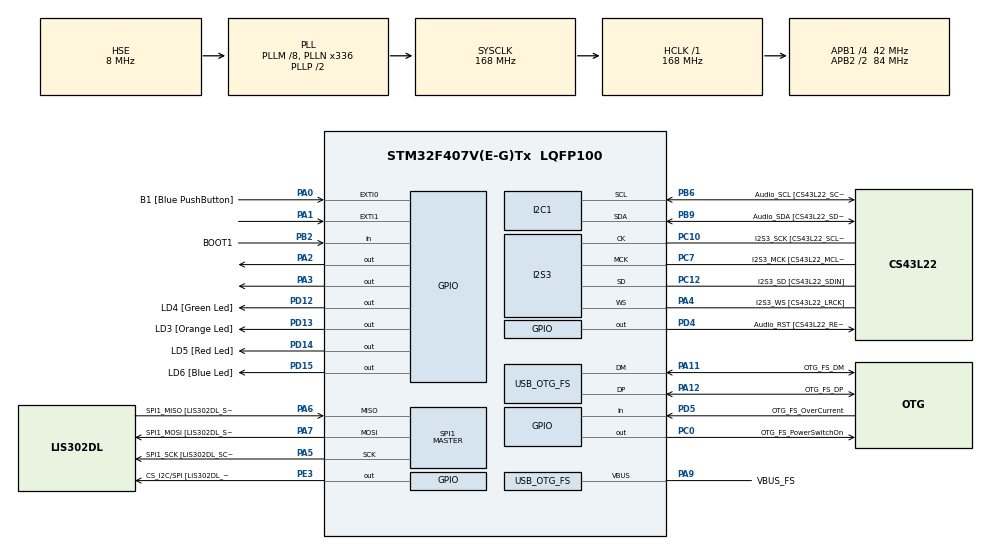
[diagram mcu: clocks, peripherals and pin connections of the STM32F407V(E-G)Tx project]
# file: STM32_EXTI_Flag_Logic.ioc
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I2S3.AudioFreq-Half_Duplex_Master=I2S_AUDIOFREQ_96K
I2S3.ErrorAudioFreq=-2.34 %
I2S3.ErrorAudioFreq-Half_Duplex_Master=0.8 %
I2S3.FullDuplexMode=I2S_FULLDUPLEXMODE_DISABLE
I2S3.Instance=SPI$Index
I2S3.RealAudioFreq=93.75 KHz
I2S3.RealAudioFreq-Half_Duplex_Master=96.774 KHz
I2S3.VirtualMode=I2S_MODE_MASTER
Mcu.Family=STM32F4
Mcu.Name=STM32F407V(E-G)Tx
Mcu.Package=LQFP100
NVIC.EXTI1_IRQn=true\:0\:0\:false\:false\:true\:true\:true\:true
NVIC.OTG_FS_IRQn=true\:0\:0\:false\:false\:true\:true\:true\:true
NVIC.PriorityGroup=NVIC_PRIORITYGROUP_0
PA0-WKUP.GPIO_Label=B1 [Blue PushButton]
PA0-WKUP.GPIO_ModeDefaultEXTI=GPIO_MODE_EVT_RISING
PA0-WKUP.GPIO_PuPd=GPIO_NOPULL
PA0-WKUP.Signal=GPXTI0
PA1.Signal=GPXTI1
PA10.GPIO_Label=OTG_FS_ID
PA10.GPIO_Mode=GPIO_MODE_AF_PP
PA10.GPIO_PuPd=GPIO_NOPULL
PA10.GPIO_Speed=GPIO_SPEED_FREQ_LOW
PA10.Signal=USB_OTG_FS_ID
PA11.GPIO_Label=OTG_FS_DM
PA11.GPIO_Mode=GPIO_MODE_AF_PP
PA11.GPIO_PuPd=GPIO_NOPULL
PA11.GPIO_Speed=GPIO_SPEED_FREQ_LOW
PA11.Mode=Host_Only
PA11.Signal=USB_OTG_FS_DM
PA12.GPIO_Label=OTG_FS_DP
PA12.GPIO_Mode=GPIO_MODE_AF_PP
PA12.GPIO_PuPd=GPIO_NOPULL
PA12.GPIO_Speed=GPIO_SPEED_FREQ_LOW
PA12.Mode=Host_Only
PA12.Signal=USB_OTG_FS_DP
PA13.GPIO_Label=SWDIO
PA13.Mode=Serial_Wire
PA13.Signal=SYS_JTMS-SWDIO
PA14.GPIO_Label=SWCLK
PA14.Mode=Serial_Wire
PA14.Signal=SYS_JTCK-SWCLK
PA2.Signal=GPIO_Output
PA3.Signal=GPIO_Output
PA4.GPIO_Label=I2S3_WS [CS43L22_LRCK]
PA4.GPIO_Mode=GPIO_MODE_AF_PP
PA4.GPIO_PuPd=GPIO_NOPULL
PA4.GPIO_Speed=GPIO_SPEED_FREQ_LOW
PA4.Mode=Half_Duplex_Master
PA4.Signal=I2S3_WS
PA5.GPIO_Label=SPI1_SCK [LIS302DL_SCL/SPC]
PA5.GPIO_Mode=GPIO_MODE_AF_PP
PA5.GPIO_PuPd=GPIO_NOPULL
PA5.GPIO_Speed=GPIO_SPEED_FREQ_LOW
PA5.Mode=Full_Duplex_Master
PA5.Signal=SPI1_SCK
PA6.GPIO_Label=SPI1_MISO [LIS302DL_SDO]
PA6.GPIO_Mode=GPIO_MODE_AF_PP
PA6.GPIO_PuPd=GPIO_NOPULL
PA6.GPIO_Speed=GPIO_SPEED_FREQ_LOW
PA6.Mode=Full_Duplex_Master
PA6.Signal=SPI1_MISO
PA7.GPIO_Label=SPI1_MOSI [LIS302DL_SDA/SDI/SDO]
PA7.GPIO_Mode=GPIO_MODE_AF_PP
PA7.GPIO_PuPd=GPIO_NOPULL
PA7.GPIO_Speed=GPIO_SPEED_FREQ_LOW
PA7.Mode=Full_Duplex_Master
PA7.Signal=SPI1_MOSI
PA9.GPIO_Label=VBUS_FS
PA9.GPIO_Mode=GPIO_MODE_INPUT
PA9.GPIO_PuPd=GPIO_NOPULL
PA9.Mode=Activate_VBUS
PA9.Signal=USB_OTG_FS_VBUS
PB10.GPIO_Label=CLK_IN [MP45DT02_CLK]
PB10.GPIO_Mode=GPIO_MODE_AF_PP
PB10.GPIO_PuPd=GPIO_NOPULL
PB10.GPIO_Speed=GPIO_SPEED_FREQ_LOW
PB10.Signal=I2S2_CK
PB2.GPIO_Label=BOOT1
PB2.GPIO_Mode=GPIO_MODE_INPUT
PB2.GPIO_PuPd=GPIO_NOPULL
PB2.Signal=GPIO_Input
PB3.GPIO_Label=SWO
PB3.Signal=SYS_JTDO-SWO
PB6.GPIO_Label=Audio_SCL [CS43L22_SCL]
PB6.GPIO_Mode=GPIO_MODE_AF_OD
PB6.GPIO_Pu=GPIO_PULLUP
PB6.GPIO_PuPd=GPIO_NOPULL
PB6.GPIO_Speed=GPIO_SPEED_FREQ_LOW
PB6.Mode=I2C
PB6.Signal=I2C1_SCL
PB9.GPIO_Label=Audio_SDA [CS43L22_SDA]
PB9.GPIO_Mode=GPIO_MODE_AF_OD
PB9.GPIO_Pu=GPIO_PULLUP
PB9.GPIO_PuPd=GPIO_NOPULL
PB9.GPIO_Speed=GPIO_SPEED_FREQ_LOW
PB9.Mode=I2C
PB9.Signal=I2C1_SDA
PC0.GPIO_Label=OTG_FS_PowerSwitchOn
PC0.GPIO_PuPd=GPIO_NOPULL
PC0.GPIO_Speed=GPIO_SPEED_FREQ_LOW
PC0.PinState=GPIO_PIN_SET
PC0.Signal=GPIO_Output
PC10.GPIO_Label=I2S3_SCK [CS43L22_SCLK]
PC10.GPIO_Mode=GPIO_MODE_AF_PP
PC10.GPIO_PuPd=GPIO_NOPULL
PC10.GPIO_Speed=GPIO_SPEED_FREQ_LOW
PC10.Mode=Half_Duplex_Master
PC10.Signal=I2S3_CK
PC12.GPIO_Label=I2S3_SD [CS43L22_SDIN]
PC12.GPIO_Mode=GPIO_MODE_AF_PP
PC12.GPIO_PuPd=GPIO_NOPULL
PC12.GPIO_Speed=GPIO_SPEED_FREQ_LOW
PC12.Mode=Half_Duplex_Master
PC12.Signal=I2S3_SD
PC14-OSC32_IN.GPIO_Label=PC14-OSC32_IN
PC14-OSC32_IN.Mode=LSE-External-Oscillator
PC14-OSC32_IN.Signal=RCC_OSC32_IN
PC15-OSC32_OUT.GPIO_Label=PC15-OSC32_OUT
PC15-OSC32_OUT.Mode=LSE-External-Oscillator
PC15-OSC32_OUT.Signal=RCC_OSC32_OUT
PC3.GPIO_Label=PDM_OUT [MP45DT02_DOUT]
PC3.GPIO_Mode=GPIO_MODE_AF_PP
PC3.GPIO_PuPd=GPIO_NOPULL
PC3.GPIO_Speed=GPIO_SPEED_FREQ_LOW
PC3.Signal=I2S2_SD
PC7.GPIO_Label=I2S3_MCK [CS43L22_MCLK]
PC7.GPIO_Mode=GPIO_MODE_AF_PP
PC7.GPIO_PuPd=GPIO_NOPULL
PC7.GPIO_Speed=GPIO_SPEED_FREQ_LOW
PC7.Mode=Master_Clock_Activated
PC7.Signal=I2S3_MCK
PD12.GPIO_Label=LD4 [Green Led]
PD12.GPIO_PuPd=GPIO_NOPULL
PD12.GPIO_Speed=GPIO_SPEED_FREQ_LOW
PD12.Signal=GPIO_Output
PD13.GPIO_Label=LD3 [Orange Led]
PD13.GPIO_PuPd=GPIO_NOPULL
PD13.GPIO_Speed=GPIO_SPEED_FREQ_LOW
PD13.Signal=GPIO_Output
PD14.GPIO_Label=LD5 [Red Led]
PD14.GPIO_PuPd=GPIO_NOPULL
PD14.GPIO_Speed=GPIO_SPEED_FREQ_LOW
PD14.Signal=GPIO_Output
PD15.GPIO_Label=LD6 [Blue Led]
PD15.GPIO_PuPd=GPIO_NOPULL
PD15.GPIO_Speed=GPIO_SPEED_FREQ_LOW
PD15.Signal=GPIO_Output
PD4.GPIO_Label=Audio_RST [CS43L22_RESET]
PD4.GPIO_PuPd=GPIO_NOPULL
PD4.GPIO_Speed=GPIO_SPEED_FREQ_LOW
PD4.Signal=GPIO_Output
PD5.GPIO_Label=OTG_FS_OverCurrent
PD5.GPIO_Mode=GPIO_MODE_INPUT
PD5.GPIO_PuPd=GPIO_NOPULL
PD5.Signal=GPIO_Input
PE3.GPIO_Label=CS_I2C/SPI [LIS302DL_CS_I2C/SPI]
PE3.GPIO_PuPd=GPIO_NOPULL
PE3.GPIO_Speed=GPIO_SPEED_FREQ_LOW
PE3.Signal=GPIO_Output
PH0-OSC_IN.GPIO_Label=PH0-OSC_IN
PH0-OSC_IN.Mode=HSE-External-Oscillator
PH0-OSC_IN.Signal=RCC_OSC_IN
PH1-OSC_OUT.GPIO_Label=PH1-OSC_OUT
PH1-OSC_OUT.Mode=HSE-External-Oscillator
PH1-OSC_OUT.Signal=RCC_OSC_OUT
ProjectManager.HeapSize=0x200
ProjectManager.StackSize=0x400
ProjectManager.TargetToolchain=STM32CubeIDE
RCC.48MHZClocksFreq_Value=48000000
RCC.AHBFreq_Value=168000000
RCC.APB1CLKDivider=RCC_HCLK_DIV4
RCC.APB1Freq_Value=42000000
RCC.APB1TimFreq_Value=84000000
RCC.APB2CLKDivider=RCC_HCLK_DIV2
RCC.APB2Freq_Value=84000000
RCC.APB2TimFreq_Value=168000000
RCC.CortexFreq_Value=168000000
RCC.HCLKFreq_Value=168000000
RCC.HSE_VALUE=8000000
RCC.HSI_VALUE=16000000
RCC.PLLM=8
RCC.PLLN=336
RCC.PLLQ=7
RCC.SYSCLKFreq_VALUE=168000000
RCC.SYSCLKSource=RCC_SYSCLKSOURCE_PLLCLK
RCC.VCOOutputFreq_Value=336000000
SPI1.BaudRatePrescaler-Full_Duplex_Master=SPI_BAUDRATEPRESCALER_2
SPI1.CalculateBaudRate-Full_Duplex_Master=42.0 MBits/s
SPI1.Direction=SPI_DIRECTION_2LINES
SPI1.Mode=SPI_MODE_MASTER
SPI1.Mode-Full_Duplex_Master=SPI_MODE_MASTER
SPI1.VirtualType=VM_MASTER
USB_HOST.BSP.number=1
USB_HOST.USBH_HandleTypeDef-CDC_FS=hUsbHostFS
USB_HOST.VirtualModeFS=Cdc
USB_HOST0.BSP.STBoard=false
USB_HOST0.BSP.api=Unknown
USB_HOST0.BSP.instance=PC0
USB_HOST0.BSP.ip=GPIO
USB_HOST0.BSP.mode=Output
USB_HOST0.BSP.name=Drive_VBUS_FS
USB_HOST0.BSP.solution=PC0
USB_OTG_FS.VirtualMode=Host_Only
USB_OTG_FS.phy_itface=HCD_PHY_EMBEDDED
VP_USB_HOST_VS_USB_HOST_CDC_FS.Mode=CDC_FS
board=STM32F407G-DISC1

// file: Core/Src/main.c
/* USER CODE BEGIN Header */
/**
  ******************************************************************************
  * @file           : main.c
  * @brief          : Main program body
  ******************************************************************************
  * @attention
  *
  * Copyright (c) 2026 STMicroelectronics.
  * All rights reserved.
  *
  * This software is licensed under terms that can be found in the LICENSE file
  * in the root directory of this software component.
  * If no LICENSE file comes with this software, it is provided AS-IS.
  *
  ******************************************************************************
  */
/* USER CODE END Header */
#include "main.h"
#include "usb_host.h"

I2C_HandleTypeDef hi2c1;

I2S_HandleTypeDef hi2s3;

SPI_HandleTypeDef hspi1;

/* USER CODE BEGIN PV */
 volatile uint8_t flag = 0;
 uint32_t green_led_on_time = 0;
 uint32_t red_led_on_time = 0;
 uint8_t red_led_active = 0;
/* USER CODE END PV */

void SystemClock_Config(void);
static void MX_GPIO_Init(void);
static void MX_I2C1_Init(void);
static void MX_I2S3_Init(void);
static void MX_SPI1_Init(void);
void MX_USB_HOST_Process(void);

int main(void)
{

  /* MCU Configuration--------------------------------------------------------*/

  /* Reset of all peripherals, Initializes the Flash interface and the Systick. */
  HAL_Init();

  /* Configure the system clock */
  SystemClock_Config();

  /* Initialize all configured peripherals */
  MX_GPIO_Init();
  MX_I2C1_Init();
  MX_I2S3_Init();
  MX_SPI1_Init();
  MX_USB_HOST_Init();

  /* Infinite loop */
  while (1)
  {
    MX_USB_HOST_Process();

    /* USER CODE BEGIN 3 */
    if(flag == 1){
    	HAL_GPIO_WritePin(GPIOA,GPIO_PIN_3,GPIO_PIN_SET);
    	red_led_on_time = HAL_GetTick();
    	red_led_active = 1;
    	flag = 0;
    }

    if(red_led_active == 1){
    	if((HAL_GetTick() - red_led_on_time) >= 2000){
    		HAL_GPIO_WritePin(GPIOA,GPIO_PIN_3,GPIO_PIN_RESET);
    		red_led_active = 0;
    	}
    }

    if((HAL_GetTick() - green_led_on_time) >= 500){
    	HAL_GPIO_TogglePin(GPIOA,GPIO_PIN_2);
    	green_led_on_time = HAL_GetTick();
    }
  }
  /* USER CODE END 3 */
}

void SystemClock_Config(void)
{
  RCC_OscInitTypeDef RCC_OscInitStruct = {0};
  RCC_ClkInitTypeDef RCC_ClkInitStruct = {0};

  /** Configure the main internal regulator output voltage
  */
  __HAL_RCC_PWR_CLK_ENABLE();
  __HAL_PWR_VOLTAGESCALING_CONFIG(PWR_REGULATOR_VOLTAGE_SCALE1);

  /** Initializes the RCC Oscillators according to the specified parameters
  * in the RCC_OscInitTypeDef structure.
  */
  RCC_OscInitStruct.OscillatorType = RCC_OSCILLATORTYPE_HSE;
  RCC_OscInitStruct.HSEState = RCC_HSE_ON;
  RCC_OscInitStruct.PLL.PLLState = RCC_PLL_ON;
  RCC_OscInitStruct.PLL.PLLSource = RCC_PLLSOURCE_HSE;
  RCC_OscInitStruct.PLL.PLLM = 8;
  RCC_OscInitStruct.PLL.PLLN = 336;
  RCC_OscInitStruct.PLL.PLLP = RCC_PLLP_DIV2;
  RCC_OscInitStruct.PLL.PLLQ = 7;
  if (HAL_RCC_OscConfig(&RCC_OscInitStruct) != HAL_OK)
  {
    Error_Handler();
  }

  /** Initializes the CPU, AHB and APB buses clocks
  */
  RCC_ClkInitStruct.ClockType = RCC_CLOCKTYPE_HCLK|RCC_CLOCKTYPE_SYSCLK
                              |RCC_CLOCKTYPE_PCLK1|RCC_CLOCKTYPE_PCLK2;
  RCC_ClkInitStruct.SYSCLKSource = RCC_SYSCLKSOURCE_PLLCLK;
  RCC_ClkInitStruct.AHBCLKDivider = RCC_SYSCLK_DIV1;
  RCC_ClkInitStruct.APB1CLKDivider = RCC_HCLK_DIV4;
  RCC_ClkInitStruct.APB2CLKDivider = RCC_HCLK_DIV2;

  if (HAL_RCC_ClockConfig(&RCC_ClkInitStruct, FLASH_LATENCY_5) != HAL_OK)
  {
    Error_Handler();
  }
}

static void MX_I2C1_Init(void)
{

  hi2c1.Instance = I2C1;
  hi2c1.Init.ClockSpeed = 100000;
  hi2c1.Init.DutyCycle = I2C_DUTYCYCLE_2;
  hi2c1.Init.OwnAddress1 = 0;
  hi2c1.Init.AddressingMode = I2C_ADDRESSINGMODE_7BIT;
  hi2c1.Init.DualAddressMode = I2C_DUALADDRESS_DISABLE;
  hi2c1.Init.OwnAddress2 = 0;
  hi2c1.Init.GeneralCallMode = I2C_GENERALCALL_DISABLE;
  hi2c1.Init.NoStretchMode = I2C_NOSTRETCH_DISABLE;
  if (HAL_I2C_Init(&hi2c1) != HAL_OK)
  {
    Error_Handler();
  }

}

static void MX_I2S3_Init(void)
{

  hi2s3.Instance = SPI3;
  hi2s3.Init.Mode = I2S_MODE_MASTER_TX;
  hi2s3.Init.Standard = I2S_STANDARD_PHILIPS;
  hi2s3.Init.DataFormat = I2S_DATAFORMAT_16B;
  hi2s3.Init.MCLKOutput = I2S_MCLKOUTPUT_ENABLE;
  hi2s3.Init.AudioFreq = I2S_AUDIOFREQ_96K;
  hi2s3.Init.CPOL = I2S_CPOL_LOW;
  hi2s3.Init.ClockSource = I2S_CLOCK_PLL;
  hi2s3.Init.FullDuplexMode = I2S_FULLDUPLEXMODE_DISABLE;
  if (HAL_I2S_Init(&hi2s3) != HAL_OK)
  {
    Error_Handler();
  }

}

static void MX_SPI1_Init(void)
{

  /* SPI1 parameter configuration*/
  hspi1.Instance = SPI1;
  hspi1.Init.Mode = SPI_MODE_MASTER;
  hspi1.Init.Direction = SPI_DIRECTION_2LINES;
  hspi1.Init.DataSize = SPI_DATASIZE_8BIT;
  hspi1.Init.CLKPolarity = SPI_POLARITY_LOW;
  hspi1.Init.CLKPhase = SPI_PHASE_1EDGE;
  hspi1.Init.NSS = SPI_NSS_SOFT;
  hspi1.Init.BaudRatePrescaler = SPI_BAUDRATEPRESCALER_2;
  hspi1.Init.FirstBit = SPI_FIRSTBIT_MSB;
  hspi1.Init.TIMode = SPI_TIMODE_DISABLE;
  hspi1.Init.CRCCalculation = SPI_CRCCALCULATION_DISABLE;
  hspi1.Init.CRCPolynomial = 10;
  if (HAL_SPI_Init(&hspi1) != HAL_OK)
  {
    Error_Handler();
  }

}

static void MX_GPIO_Init(void)
{
  GPIO_InitTypeDef GPIO_InitStruct = {0};

  /* GPIO Ports Clock Enable */
  __HAL_RCC_GPIOE_CLK_ENABLE();
  __HAL_RCC_GPIOC_CLK_ENABLE();
  __HAL_RCC_GPIOH_CLK_ENABLE();
  __HAL_RCC_GPIOA_CLK_ENABLE();
  __HAL_RCC_GPIOB_CLK_ENABLE();
  __HAL_RCC_GPIOD_CLK_ENABLE();

  /*Configure GPIO pin Output Level */
  HAL_GPIO_WritePin(CS_I2C_SPI_GPIO_Port, CS_I2C_SPI_Pin, GPIO_PIN_RESET);

  /*Configure GPIO pin Output Level */
  HAL_GPIO_WritePin(OTG_FS_PowerSwitchOn_GPIO_Port, OTG_FS_PowerSwitchOn_Pin, GPIO_PIN_SET);

  /*Configure GPIO pin Output Level */
  HAL_GPIO_WritePin(GPIOA, GPIO_PIN_2|GPIO_PIN_3, GPIO_PIN_RESET);

  /*Configure GPIO pin Output Level */
  HAL_GPIO_WritePin(GPIOD, LD4_Pin|LD3_Pin|LD5_Pin|LD6_Pin
                          |Audio_RST_Pin, GPIO_PIN_RESET);

  /*Configure GPIO pin : CS_I2C_SPI_Pin */
  GPIO_InitStruct.Pin = CS_I2C_SPI_Pin;
  GPIO_InitStruct.Mode = GPIO_MODE_OUTPUT_PP;
  GPIO_InitStruct.Pull = GPIO_NOPULL;
  GPIO_InitStruct.Speed = GPIO_SPEED_FREQ_LOW;
  HAL_GPIO_Init(CS_I2C_SPI_GPIO_Port, &GPIO_InitStruct);

  /*Configure GPIO pin : OTG_FS_PowerSwitchOn_Pin */
  GPIO_InitStruct.Pin = OTG_FS_PowerSwitchOn_Pin;
  GPIO_InitStruct.Mode = GPIO_MODE_OUTPUT_PP;
  GPIO_InitStruct.Pull = GPIO_NOPULL;
  GPIO_InitStruct.Speed = GPIO_SPEED_FREQ_LOW;
  HAL_GPIO_Init(OTG_FS_PowerSwitchOn_GPIO_Port, &GPIO_InitStruct);

  /*Configure GPIO pin : PDM_OUT_Pin */
  GPIO_InitStruct.Pin = PDM_OUT_Pin;
  GPIO_InitStruct.Mode = GPIO_MODE_AF_PP;
  GPIO_InitStruct.Pull = GPIO_NOPULL;
  GPIO_InitStruct.Speed = GPIO_SPEED_FREQ_LOW;
  GPIO_InitStruct.Alternate = GPIO_AF5_SPI2;
  HAL_GPIO_Init(PDM_OUT_GPIO_Port, &GPIO_InitStruct);

  /*Configure GPIO pin : B1_Pin */
  GPIO_InitStruct.Pin = B1_Pin;
  GPIO_InitStruct.Mode = GPIO_MODE_EVT_RISING;
  GPIO_InitStruct.Pull = GPIO_NOPULL;
  HAL_GPIO_Init(B1_GPIO_Port, &GPIO_InitStruct);

  /*Configure GPIO pin : PA1 */
  GPIO_InitStruct.Pin = GPIO_PIN_1;
  GPIO_InitStruct.Mode = GPIO_MODE_IT_RISING;
  GPIO_InitStruct.Pull = GPIO_NOPULL;
  HAL_GPIO_Init(GPIOA, &GPIO_InitStruct);

  /*Configure GPIO pins : PA2 PA3 */
  GPIO_InitStruct.Pin = GPIO_PIN_2|GPIO_PIN_3;
  GPIO_InitStruct.Mode = GPIO_MODE_OUTPUT_PP;
  GPIO_InitStruct.Pull = GPIO_NOPULL;
  GPIO_InitStruct.Speed = GPIO_SPEED_FREQ_LOW;
  HAL_GPIO_Init(GPIOA, &GPIO_InitStruct);

  /*Configure GPIO pin : BOOT1_Pin */
  GPIO_InitStruct.Pin = BOOT1_Pin;
  GPIO_InitStruct.Mode = GPIO_MODE_INPUT;
  GPIO_InitStruct.Pull = GPIO_NOPULL;
  HAL_GPIO_Init(BOOT1_GPIO_Port, &GPIO_InitStruct);

  /*Configure GPIO pin : CLK_IN_Pin */
  GPIO_InitStruct.Pin = CLK_IN_Pin;
  GPIO_InitStruct.Mode = GPIO_MODE_AF_PP;
  GPIO_InitStruct.Pull = GPIO_NOPULL;
  GPIO_InitStruct.Speed = GPIO_SPEED_FREQ_LOW;
  GPIO_InitStruct.Alternate = GPIO_AF5_SPI2;
  HAL_GPIO_Init(CLK_IN_GPIO_Port, &GPIO_InitStruct);

  /*Configure GPIO pins : LD4_Pin LD3_Pin LD5_Pin LD6_Pin
                           Audio_RST_Pin */
  GPIO_InitStruct.Pin = LD4_Pin|LD3_Pin|LD5_Pin|LD6_Pin
                          |Audio_RST_Pin;
  GPIO_InitStruct.Mode = GPIO_MODE_OUTPUT_PP;
  GPIO_InitStruct.Pull = GPIO_NOPULL;
  GPIO_InitStruct.Speed = GPIO_SPEED_FREQ_LOW;
  HAL_GPIO_Init(GPIOD, &GPIO_InitStruct);

  /*Configure GPIO pin : OTG_FS_OverCurrent_Pin */
  GPIO_InitStruct.Pin = OTG_FS_OverCurrent_Pin;
  GPIO_InitStruct.Mode = GPIO_MODE_INPUT;
  GPIO_InitStruct.Pull = GPIO_NOPULL;
  HAL_GPIO_Init(OTG_FS_OverCurrent_GPIO_Port, &GPIO_InitStruct);

  /* EXTI interrupt init*/
  HAL_NVIC_SetPriority(EXTI1_IRQn, 0, 0);
  HAL_NVIC_EnableIRQ(EXTI1_IRQn);

}

/* USER CODE BEGIN 4 */
void HAL_GPIO_EXTI_Callback(uint16_t GPIO_Pin){
	if(GPIO_Pin == GPIO_PIN_1){
		flag = 1;
	}
}
/* USER CODE END 4 */

void Error_Handler(void)
{
  __disable_irq();
  while (1)
  {
  }
}
